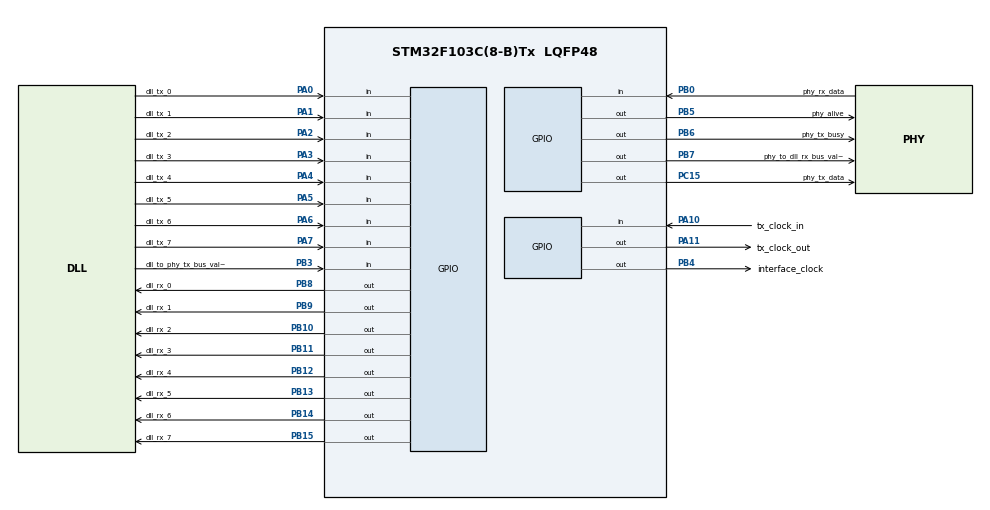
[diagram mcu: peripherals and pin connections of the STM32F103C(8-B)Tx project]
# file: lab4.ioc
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Mcu.Family=STM32F1
Mcu.Name=STM32F103C(8-B)Tx
Mcu.Package=LQFP48
NVIC.PriorityGroup=NVIC_PRIORITYGROUP_4
NVIC.TIM2_IRQn=true\:0\:0\:false\:true\:true\:1\:true
NVIC.TIM3_IRQn=true\:0\:0\:false\:true\:true\:2\:true
NVIC.TIM4_IRQn=true\:0\:0\:false\:true\:true\:3\:true
PA0-WKUP.GPIO_Label=dll_tx_0
PA0-WKUP.GPIO_PuPd=GPIO_PULLDOWN
PA0-WKUP.Signal=GPIO_Input
PA1.GPIO_Label=dll_tx_1
PA1.GPIO_PuPd=GPIO_PULLDOWN
PA1.Signal=GPIO_Input
PA10.GPIO_Label=tx_clock_in
PA10.GPIO_PuPd=GPIO_PULLDOWN
PA10.Signal=GPIO_Input
PA11.GPIO_Label=tx_clock_out
PA11.Signal=GPIO_Output
PA13.Mode=Serial_Wire
PA13.Signal=SYS_JTMS-SWDIO
PA14.Mode=Serial_Wire
PA14.Signal=SYS_JTCK-SWCLK
PA2.GPIO_Label=dll_tx_2
PA2.GPIO_PuPd=GPIO_PULLDOWN
PA2.Signal=GPIO_Input
PA3.GPIO_Label=dll_tx_3
PA3.GPIO_PuPd=GPIO_PULLDOWN
PA3.Signal=GPIO_Input
PA4.GPIO_Label=dll_tx_4
PA4.GPIO_PuPd=GPIO_PULLDOWN
PA4.Signal=GPIO_Input
PA5.GPIO_Label=dll_tx_5
PA5.GPIO_PuPd=GPIO_PULLDOWN
PA5.Signal=GPIO_Input
PA6.GPIO_Label=dll_tx_6
PA6.GPIO_PuPd=GPIO_PULLDOWN
PA6.Signal=GPIO_Input
PA7.GPIO_Label=dll_tx_7
PA7.GPIO_PuPd=GPIO_PULLDOWN
PA7.Signal=GPIO_Input
PB0.GPIO_Label=phy_rx_data
PB0.GPIO_PuPd=GPIO_PULLDOWN
PB0.Signal=GPIO_Input
PB10.GPIO_Label=dll_rx_2
PB10.Signal=GPIO_Output
PB11.GPIO_Label=dll_rx_3
PB11.Signal=GPIO_Output
PB12.GPIO_Label=dll_rx_4
PB12.Signal=GPIO_Output
PB13.GPIO_Label=dll_rx_5
PB13.Signal=GPIO_Output
PB14.GPIO_Label=dll_rx_6
PB14.Signal=GPIO_Output
PB15.GPIO_Label=dll_rx_7
PB15.Signal=GPIO_Output
PB3.GPIO_Label=dll_to_phy_tx_bus_valid
PB3.GPIO_PuPd=GPIO_PULLDOWN
PB3.Signal=GPIO_Input
PB4.GPIO_Label=interface_clock
PB4.Signal=GPIO_Output
PB5.GPIO_Label=phy_alive
PB5.Signal=GPIO_Output
PB6.GPIO_Label=phy_tx_busy
PB6.Signal=GPIO_Output
PB7.GPIO_Label=phy_to_dll_rx_bus_valid
PB7.Signal=GPIO_Output
PB8.GPIO_Label=dll_rx_0
PB8.Signal=GPIO_Output
PB9.GPIO_Label=dll_rx_1
PB9.Signal=GPIO_Output
PC15-OSC32_OUT.GPIO_Label=phy_tx_data
PC15-OSC32_OUT.Signal=GPIO_Output
ProjectManager.HeapSize=0x200
ProjectManager.StackSize=0x400
ProjectManager.TargetToolchain=MDK-ARM V5
RCC.APB1Freq_Value=8000000
RCC.APB2CLKDivider=RCC_HCLK_DIV16
RCC.APB2Freq_Value=500000
RCC.APB2TimFreq_Value=1000000
TIM2.Period=40
TIM2.Prescaler=124
TIM3.Period=40
TIM3.Prescaler=124
TIM4.Period=1
TIM4.Prescaler=124
VP_TIM2_VS_ClockSourceINT.Mode=Internal
VP_TIM3_VS_ClockSourceINT.Mode=Internal
VP_TIM4_VS_ClockSourceINT.Mode=Internal
board=custom

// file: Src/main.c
/**
  ******************************************************************************
  * @file           : main.c
  * @brief          : Main program body
  ******************************************************************************
  ** This notice applies to any and all portions of this file
  * that are not between comment pairs USER CODE BEGIN and
  * USER CODE END. Other portions of this file, whether
  * inserted by the user or by software development tools
  * are owned by their respective copyright owners.
  *
  * COPYRIGHT(c) 2020 STMicroelectronics
  *
  * Redistribution and use in source and binary forms, with or without modification,
  * are permitted provided that the following conditions are met:
  *   1. Redistributions of source code must retain the above copyright notice,
  *      this list of conditions and the following disclaimer.
  *   2. Redistributions in binary form must reproduce the above copyright notice,
  *      this list of conditions and the following disclaimer in the documentation
  *      and/or other materials provided with the distribution.
  *   3. Neither the name of STMicroelectronics nor the names of its contributors
  *      may be used to endorse or promote products derived from this software
  *      without specific prior written permission.
  *
  * THIS SOFTWARE IS PROVIDED BY THE COPYRIGHT HOLDERS AND CONTRIBUTORS "AS IS"
  * AND ANY EXPRESS OR IMPLIED WARRANTIES, INCLUDING, BUT NOT LIMITED TO, THE
  * IMPLIED WARRANTIES OF MERCHANTABILITY AND FITNESS FOR A PARTICULAR PURPOSE ARE
  * DISCLAIMED. IN NO EVENT SHALL THE COPYRIGHT HOLDER OR CONTRIBUTORS BE LIABLE
  * FOR ANY DIRECT, INDIRECT, INCIDENTAL, SPECIAL, EXEMPLARY, OR CONSEQUENTIAL
  * DAMAGES (INCLUDING, BUT NOT LIMITED TO, PROCUREMENT OF SUBSTITUTE GOODS OR
  * SERVICES; LOSS OF USE, DATA, OR PROFITS; OR BUSINESS INTERRUPTION) HOWEVER
  * CAUSED AND ON ANY THEORY OF LIABILITY, WHETHER IN CONTRACT, STRICT LIABILITY,
  * OR TORT (INCLUDING NEGLIGENCE OR OTHERWISE) ARISING IN ANY WAY OUT OF THE USE
  * OF THIS SOFTWARE, EVEN IF ADVISED OF THE POSSIBILITY OF SUCH DAMAGE.
  *
  ******************************************************************************
  */
#include "main.h"
#include "stm32f1xx_hal.h"

/* USER CODE BEGIN Includes */
#define MASK_MAX 128
#define BYTE_COUNT 8
#define GPIOA_IDR 0x40010808
#define GPIOB_ODR 0x40010C0C
#define IDLE 100
#define START_BIT 101
#define DATA 102
#define PARITY 103
#define STOP_BITS 104
/* USER CODE END Includes */

TIM_HandleTypeDef htim2;
TIM_HandleTypeDef htim3;
TIM_HandleTypeDef htim4;

/* USER CODE BEGIN PV */
/* Private variables ---------------------------------------------------------*/
uint32_t phy_to_dll_rx_bus = 0;
static uint32_t dll_to_phy_tx_bus;
static uint32_t dll_to_phy_tx_bus_valid = 0;
static uint32_t phy_to_dll_rx_bus_valid = 0;
static uint32_t dll_new_data = 0;
uint32_t phy_rx_new_data = 0;
uint32_t to_finish = 0;

static uint32_t tx_clock = 0;
static uint32_t interface_clock = 0;
static uint32_t prev_tx_clock = 0;
static uint32_t prev_interface_clock = 0;

static uint32_t alive = 0;
static uint32_t phy_busy = 0;

//lab4
static uint32_t tx_state = IDLE;
static uint32_t tx_mask = 1;
static uint32_t current_bit = -1;
static uint32_t stop_bits = 0;
static uint32_t tx_parity_counter = 0;
static uint32_t first_iteration = 1;
static uint32_t tx_bit = 1;
uint32_t counter = 0;
/* USER CODE END PV */

void SystemClock_Config(void);
static void MX_GPIO_Init(void);
static void MX_TIM2_Init(void);
static void MX_TIM3_Init(void);
static void MX_TIM4_Init(void);
static void MX_NVIC_Init(void);

/* USER CODE BEGIN PFP */
/* Private function prototypes -----------------------------------------------*/

/* USER CODE END PFP */

/* USER CODE BEGIN 0 */
void interface()
{

	static int first_rising_edge = 1;
	static int first_iteration = 1;
	static uint32_t *GPIOA_IDR_PTR = (uint32_t*)GPIOA_IDR;
	static uint32_t *GPIOB_ODR_PTR = (uint32_t*)GPIOB_ODR;
	static uint32_t da_bits = 0;
	if(first_iteration)//first iteration of the function means the interface clock isnt on.
	{
		HAL_TIM_Base_Start(&htim2);
		HAL_TIM_Base_Start_IT(&htim2);
		first_iteration = 0;
	}
	else if(prev_interface_clock && !interface_clock && HAL_GPIO_ReadPin(dll_to_phy_tx_bus_valid_GPIO_Port,dll_to_phy_tx_bus_valid_Pin))
	{//interface clock on falling edge and dll sent new data(valid == 1)
		dll_to_phy_tx_bus = (*GPIOA_IDR_PTR & 255);
		dll_new_data = 1;
	}
	else if(!prev_interface_clock && interface_clock)
	{//interface clock on rising edge
		if(first_rising_edge)
		{
			HAL_GPIO_WritePin(phy_alive_GPIO_Port,phy_alive_Pin,GPIO_PIN_SET);
			first_rising_edge = 0;
			alive = 1;
		}
		if(HAL_GPIO_ReadPin(phy_to_dll_rx_bus_valid_GPIO_Port,phy_to_dll_rx_bus_valid_Pin)) //reset valid one clock cycle after data had been already happend in the past progressive sent to the dll(grammer bitch)
		{//if the valid is 1, which means data was sent to the dll one clock cycke ago, we need to reset valid to 0
			HAL_GPIO_WritePin(phy_to_dll_rx_bus_valid_GPIO_Port,phy_to_dll_rx_bus_valid_Pin,GPIO_PIN_RESET);
			phy_to_dll_rx_bus_valid = 0;
		}
		if(phy_rx_new_data)
		{//phy_tx received new data, send it to the dll than
			da_bits = (*GPIOB_ODR_PTR & 255) + (phy_to_dll_rx_bus << 8);
			*GPIOB_ODR_PTR = da_bits;
			HAL_GPIO_WritePin(phy_to_dll_rx_bus_valid_GPIO_Port,phy_to_dll_rx_bus_valid_Pin,GPIO_PIN_SET);
			phy_to_dll_rx_bus_valid = 1;
			phy_rx_new_data = 0;
		}
	}
}

void phy_TX()
{

	if(first_iteration)
	{
		HAL_GPIO_WritePin(phy_tx_data_GPIO_Port,phy_tx_data_Pin,GPIO_PIN_SET); //send IDLE
		HAL_GPIO_WritePin(tx_clock_out_GPIO_Port,tx_clock_out_Pin, GPIO_PIN_RESET);
		tx_bit = 1;
		first_iteration = 0;
	}
	if(dll_new_data)
	{
		counter = 0;
		HAL_TIM_Base_Start(&htim3);
		HAL_TIM_Base_Start_IT(&htim3);
		HAL_GPIO_WritePin(phy_tx_busy_GPIO_Port,phy_tx_busy_Pin,GPIO_PIN_SET);
		phy_busy = 1;
		tx_state = START_BIT;
		dll_new_data = 0;
	}
	else if(!prev_tx_clock && tx_clock) //rising edge
	{
		if(tx_state == IDLE)
		{
			HAL_GPIO_WritePin(phy_tx_data_GPIO_Port,phy_tx_data_Pin,GPIO_PIN_SET);
			tx_bit = 1;
		}
		else if(tx_state == START_BIT)
		{
			HAL_GPIO_WritePin(phy_tx_data_GPIO_Port,phy_tx_data_Pin,GPIO_PIN_RESET);
			tx_bit = 0;
			tx_state = DATA;
		}
		else if(tx_state == DATA)
		{
			current_bit = (tx_mask)&(dll_to_phy_tx_bus);
			if(current_bit==tx_mask)
			{
				HAL_GPIO_WritePin(phy_tx_data_GPIO_Port,phy_tx_data_Pin,GPIO_PIN_SET);
				tx_parity_counter++;
				tx_bit = 1;
			}
			else
			{
				tx_bit = 0;
				HAL_GPIO_WritePin(phy_tx_data_GPIO_Port,phy_tx_data_Pin,GPIO_PIN_RESET);
			}
			tx_mask*=2;
			tx_state = (tx_mask > MASK_MAX) ? PARITY : DATA;
		}
		else if(tx_state == PARITY)
		{
			if(tx_parity_counter%2 == 0)
			{
				tx_parity_counter = 0;
				HAL_GPIO_WritePin(phy_tx_data_GPIO_Port,phy_tx_data_Pin,GPIO_PIN_RESET);
				tx_bit = 0;
			}
			else
			{
				tx_parity_counter = 1;
				tx_bit = 1;
				HAL_GPIO_WritePin(phy_tx_data_GPIO_Port,phy_tx_data_Pin,GPIO_PIN_SET);
			}
			tx_state = STOP_BITS;
		}
		else if(tx_state == STOP_BITS)
		{
			if(stop_bits < 2)
			{
				HAL_GPIO_WritePin(phy_tx_data_GPIO_Port,phy_tx_data_Pin,GPIO_PIN_SET);
				tx_bit = 1;
				stop_bits++;
			}
			else
			{
				HAL_TIM_Base_Stop(&htim3);
				HAL_TIM_Base_Stop_IT(&htim3);
				HAL_GPIO_WritePin(phy_tx_busy_GPIO_Port,phy_tx_busy_Pin,GPIO_PIN_RESET);
				HAL_GPIO_WritePin(tx_clock_out_GPIO_Port,tx_clock_out_Pin,GPIO_PIN_RESET);
				stop_bits = 0;
				phy_busy = 0;
				tx_bit = 1;
				tx_mask = 1;
				tx_state = IDLE;
				counter = 0;
				tx_parity_counter = 0;
			}
		}
	}

		/*
		switch (tx_state)
		{
			case IDLE:
				HAL_GPIO_WritePin(phy_tx_data_GPIO_Port,phy_tx_data_Pin,GPIO_PIN_SET);
				tx_bit = 1;
				break;
			case START_BIT:
				HAL_GPIO_WritePin(phy_tx_data_GPIO_Port,phy_tx_data_Pin,GPIO_PIN_RESET);
				tx_bit = 0;
				tx_state = DATA;
				break;
			case DATA:
				current_bit = (tx_mask)&(dll_to_phy_tx_bus);
				if(current_bit==tx_mask)
				{
					HAL_GPIO_WritePin(phy_tx_data_GPIO_Port,phy_tx_data_Pin,GPIO_PIN_SET);
					tx_parity_counter++;
					tx_bit = 1;
				}
				else
				{
					tx_bit = 0;
					HAL_GPIO_WritePin(phy_tx_data_GPIO_Port,phy_tx_data_Pin,GPIO_PIN_RESET);
				}
				tx_mask*=2;
				tx_state = (tx_mask > MASK_MAX) ? PARITY : DATA;
				break;
			case PARITY:
				if(tx_parity_counter%2 == 0)
				{
					HAL_GPIO_WritePin(phy_tx_data_GPIO_Port,phy_tx_data_Pin,GPIO_PIN_RESET);
					tx_bit = 0;
				}
				else
				{
					tx_bit = 1;
					HAL_GPIO_WritePin(phy_tx_data_GPIO_Port,phy_tx_data_Pin,GPIO_PIN_SET);
				}
				tx_state = STOP_BITS;
				break;
			case STOP_BITS:
				if(stop_bits < 2)
				{
					HAL_GPIO_WritePin(phy_tx_data_GPIO_Port,phy_tx_data_Pin,GPIO_PIN_SET);
					tx_bit = 1;
					stop_bits++;
				}
				else
				{
					HAL_TIM_Base_Stop(&htim3);
					HAL_TIM_Base_Stop_IT(&htim3);
					HAL_GPIO_WritePin(phy_tx_busy_GPIO_Port,phy_tx_busy_Pin,GPIO_PIN_RESET);
					HAL_GPIO_WritePin(tx_clock_out_GPIO_Port,tx_clock_out_Pin,GPIO_PIN_RESET);
					phy_busy = 0;
					tx_mask = 1;
					tx_state = IDLE;
					counter = 0;
				}
				break;
		}
	*/
}
void phy_RX()
{
	static uint32_t rx_state = 1;
	static uint32_t timer_on = 0;
	rx_state = HAL_GPIO_ReadPin(phy_rx_data_GPIO_Port,phy_rx_data_Pin);
	if(!rx_state && !timer_on) //voltage drop
	{
		HAL_TIM_Base_Start(&htim4);
		HAL_TIM_Base_Start_IT(&htim4);
		timer_on=1;
	}
	if(to_finish) //finished receiving frame or an error has occurred
	{
		HAL_TIM_Base_Stop(&htim4);
		HAL_TIM_Base_Stop_IT(&htim4);
		timer_on = 0;
		to_finish = 0;
	}
}

void sampleClocks()
{
	prev_tx_clock = tx_clock;
	prev_interface_clock = interface_clock;
	tx_clock = HAL_GPIO_ReadPin(tx_clock_in_GPIO_Port,tx_clock_in_Pin);
	interface_clock = HAL_GPIO_ReadPin(interface_clock_GPIO_Port,interface_clock_Pin);
	dll_to_phy_tx_bus_valid = HAL_GPIO_ReadPin(dll_to_phy_tx_bus_valid_GPIO_Port, dll_to_phy_tx_bus_valid_Pin);
	phy_to_dll_rx_bus_valid = HAL_GPIO_ReadPin(phy_to_dll_rx_bus_valid_GPIO_Port, phy_to_dll_rx_bus_valid_Pin);
}

void phy_layer()
{
	phy_TX();
	phy_RX();
}
/* USER CODE END 0 */

int main(void)
{

  /* MCU Configuration----------------------------------------------------------*/

  /* Reset of all peripherals, Initializes the Flash interface and the Systick. */
  HAL_Init();

  /* Configure the system clock */
  SystemClock_Config();

  /* Initialize all configured peripherals */
  MX_GPIO_Init();
  MX_TIM2_Init();
  MX_TIM3_Init();
  MX_TIM4_Init();

  /* Initialize interrupts */
  MX_NVIC_Init();

  /* Infinite loop */
  /* USER CODE BEGIN WHILE */
  while (1)
  {
		phy_layer();
		interface();
		sampleClocks();
  /* USER CODE END WHILE */

  }

}

void SystemClock_Config(void)
{

  RCC_OscInitTypeDef RCC_OscInitStruct;
  RCC_ClkInitTypeDef RCC_ClkInitStruct;

    /**Initializes the CPU, AHB and APB busses clocks
    */
  RCC_OscInitStruct.OscillatorType = RCC_OSCILLATORTYPE_HSI;
  RCC_OscInitStruct.HSIState = RCC_HSI_ON;
  RCC_OscInitStruct.HSICalibrationValue = 16;
  RCC_OscInitStruct.PLL.PLLState = RCC_PLL_NONE;
  if (HAL_RCC_OscConfig(&RCC_OscInitStruct) != HAL_OK)
  {
    _Error_Handler(__FILE__, __LINE__);
  }

    /**Initializes the CPU, AHB and APB busses clocks
    */
  RCC_ClkInitStruct.ClockType = RCC_CLOCKTYPE_HCLK|RCC_CLOCKTYPE_SYSCLK
                              |RCC_CLOCKTYPE_PCLK1|RCC_CLOCKTYPE_PCLK2;
  RCC_ClkInitStruct.SYSCLKSource = RCC_SYSCLKSOURCE_HSI;
  RCC_ClkInitStruct.AHBCLKDivider = RCC_SYSCLK_DIV1;
  RCC_ClkInitStruct.APB1CLKDivider = RCC_HCLK_DIV1;
  RCC_ClkInitStruct.APB2CLKDivider = RCC_HCLK_DIV16;

  if (HAL_RCC_ClockConfig(&RCC_ClkInitStruct, FLASH_LATENCY_0) != HAL_OK)
  {
    _Error_Handler(__FILE__, __LINE__);
  }

    /**Configure the Systick interrupt time
    */
  HAL_SYSTICK_Config(HAL_RCC_GetHCLKFreq()/1000);

    /**Configure the Systick
    */
  HAL_SYSTICK_CLKSourceConfig(SYSTICK_CLKSOURCE_HCLK);

  /* SysTick_IRQn interrupt configuration */
  HAL_NVIC_SetPriority(SysTick_IRQn, 0, 0);
}

/**
  * @brief NVIC Configuration.
  * @retval None
  */
static void MX_NVIC_Init(void)
{
  /* TIM2_IRQn interrupt configuration */
  HAL_NVIC_SetPriority(TIM2_IRQn, 0, 0);
  HAL_NVIC_EnableIRQ(TIM2_IRQn);
  /* TIM3_IRQn interrupt configuration */
  HAL_NVIC_SetPriority(TIM3_IRQn, 0, 0);
  HAL_NVIC_EnableIRQ(TIM3_IRQn);
  /* TIM4_IRQn interrupt configuration */
  HAL_NVIC_SetPriority(TIM4_IRQn, 0, 0);
  HAL_NVIC_EnableIRQ(TIM4_IRQn);
}

/* TIM2 init function */
static void MX_TIM2_Init(void)
{

  TIM_ClockConfigTypeDef sClockSourceConfig;
  TIM_MasterConfigTypeDef sMasterConfig;

  htim2.Instance = TIM2;
  htim2.Init.Prescaler = 124;
  htim2.Init.CounterMode = TIM_COUNTERMODE_UP;
  htim2.Init.Period = 40;
  htim2.Init.ClockDivision = TIM_CLOCKDIVISION_DIV1;
  htim2.Init.AutoReloadPreload = TIM_AUTORELOAD_PRELOAD_DISABLE;
  if (HAL_TIM_Base_Init(&htim2) != HAL_OK)
  {
    _Error_Handler(__FILE__, __LINE__);
  }

  sClockSourceConfig.ClockSource = TIM_CLOCKSOURCE_INTERNAL;
  if (HAL_TIM_ConfigClockSource(&htim2, &sClockSourceConfig) != HAL_OK)
  {
    _Error_Handler(__FILE__, __LINE__);
  }

  sMasterConfig.MasterOutputTrigger = TIM_TRGO_RESET;
  sMasterConfig.MasterSlaveMode = TIM_MASTERSLAVEMODE_DISABLE;
  if (HAL_TIMEx_MasterConfigSynchronization(&htim2, &sMasterConfig) != HAL_OK)
  {
    _Error_Handler(__FILE__, __LINE__);
  }

}

/* TIM3 init function */
static void MX_TIM3_Init(void)
{

  TIM_ClockConfigTypeDef sClockSourceConfig;
  TIM_MasterConfigTypeDef sMasterConfig;

  htim3.Instance = TIM3;
  htim3.Init.Prescaler = 124;
  htim3.Init.CounterMode = TIM_COUNTERMODE_UP;
  htim3.Init.Period = 40;
  htim3.Init.ClockDivision = TIM_CLOCKDIVISION_DIV1;
  htim3.Init.AutoReloadPreload = TIM_AUTORELOAD_PRELOAD_DISABLE;
  if (HAL_TIM_Base_Init(&htim3) != HAL_OK)
  {
    _Error_Handler(__FILE__, __LINE__);
  }

  sClockSourceConfig.ClockSource = TIM_CLOCKSOURCE_INTERNAL;
  if (HAL_TIM_ConfigClockSource(&htim3, &sClockSourceConfig) != HAL_OK)
  {
    _Error_Handler(__FILE__, __LINE__);
  }

  sMasterConfig.MasterOutputTrigger = TIM_TRGO_RESET;
  sMasterConfig.MasterSlaveMode = TIM_MASTERSLAVEMODE_DISABLE;
  if (HAL_TIMEx_MasterConfigSynchronization(&htim3, &sMasterConfig) != HAL_OK)
  {
    _Error_Handler(__FILE__, __LINE__);
  }

}

/* TIM4 init function */
static void MX_TIM4_Init(void)
{

  TIM_ClockConfigTypeDef sClockSourceConfig;
  TIM_MasterConfigTypeDef sMasterConfig;

  htim4.Instance = TIM4;
  htim4.Init.Prescaler = 124;
  htim4.Init.CounterMode = TIM_COUNTERMODE_UP;
  htim4.Init.Period = 1;
  htim4.Init.ClockDivision = TIM_CLOCKDIVISION_DIV1;
  htim4.Init.AutoReloadPreload = TIM_AUTORELOAD_PRELOAD_DISABLE;
  if (HAL_TIM_Base_Init(&htim4) != HAL_OK)
  {
    _Error_Handler(__FILE__, __LINE__);
  }

  sClockSourceConfig.ClockSource = TIM_CLOCKSOURCE_INTERNAL;
  if (HAL_TIM_ConfigClockSource(&htim4, &sClockSourceConfig) != HAL_OK)
  {
    _Error_Handler(__FILE__, __LINE__);
  }

  sMasterConfig.MasterOutputTrigger = TIM_TRGO_RESET;
  sMasterConfig.MasterSlaveMode = TIM_MASTERSLAVEMODE_DISABLE;
  if (HAL_TIMEx_MasterConfigSynchronization(&htim4, &sMasterConfig) != HAL_OK)
  {
    _Error_Handler(__FILE__, __LINE__);
  }

}

/** Configure pins as
        * Analog
        * Input
        * Output
        * EVENT_OUT
        * EXTI
*/
static void MX_GPIO_Init(void)
{

  GPIO_InitTypeDef GPIO_InitStruct;

  /* GPIO Ports Clock Enable */
  __HAL_RCC_GPIOC_CLK_ENABLE();
  __HAL_RCC_GPIOA_CLK_ENABLE();
  __HAL_RCC_GPIOB_CLK_ENABLE();

  /*Configure GPIO pin Output Level */
  HAL_GPIO_WritePin(phy_tx_data_GPIO_Port, phy_tx_data_Pin, GPIO_PIN_RESET);

  /*Configure GPIO pin Output Level */
  HAL_GPIO_WritePin(GPIOB, dll_rx_2_Pin|dll_rx_3_Pin|dll_rx_4_Pin|dll_rx_5_Pin
                          |dll_rx_6_Pin|dll_rx_7_Pin|interface_clock_Pin|phy_alive_Pin
                          |phy_tx_busy_Pin|phy_to_dll_rx_bus_valid_Pin|dll_rx_0_Pin|dll_rx_1_Pin, GPIO_PIN_RESET);

  /*Configure GPIO pin Output Level */
  HAL_GPIO_WritePin(tx_clock_out_GPIO_Port, tx_clock_out_Pin, GPIO_PIN_RESET);

  /*Configure GPIO pin : phy_tx_data_Pin */
  GPIO_InitStruct.Pin = phy_tx_data_Pin;
  GPIO_InitStruct.Mode = GPIO_MODE_OUTPUT_PP;
  GPIO_InitStruct.Pull = GPIO_NOPULL;
  GPIO_InitStruct.Speed = GPIO_SPEED_FREQ_LOW;
  HAL_GPIO_Init(phy_tx_data_GPIO_Port, &GPIO_InitStruct);

  /*Configure GPIO pins : dll_tx_0_Pin dll_tx_1_Pin dll_tx_2_Pin dll_tx_3_Pin
                           dll_tx_4_Pin dll_tx_5_Pin dll_tx_6_Pin dll_tx_7_Pin
                           tx_clock_in_Pin */
  GPIO_InitStruct.Pin = dll_tx_0_Pin|dll_tx_1_Pin|dll_tx_2_Pin|dll_tx_3_Pin
                          |dll_tx_4_Pin|dll_tx_5_Pin|dll_tx_6_Pin|dll_tx_7_Pin
                          |tx_clock_in_Pin;
  GPIO_InitStruct.Mode = GPIO_MODE_INPUT;
  GPIO_InitStruct.Pull = GPIO_PULLDOWN;
  HAL_GPIO_Init(GPIOA, &GPIO_InitStruct);

  /*Configure GPIO pins : phy_rx_data_Pin dll_to_phy_tx_bus_valid_Pin */
  GPIO_InitStruct.Pin = phy_rx_data_Pin|dll_to_phy_tx_bus_valid_Pin;
  GPIO_InitStruct.Mode = GPIO_MODE_INPUT;
  GPIO_InitStruct.Pull = GPIO_PULLDOWN;
  HAL_GPIO_Init(GPIOB, &GPIO_InitStruct);

  /*Configure GPIO pins : dll_rx_2_Pin dll_rx_3_Pin dll_rx_4_Pin dll_rx_5_Pin
                           dll_rx_6_Pin dll_rx_7_Pin interface_clock_Pin phy_alive_Pin
                           phy_tx_busy_Pin phy_to_dll_rx_bus_valid_Pin dll_rx_0_Pin dll_rx_1_Pin */
  GPIO_InitStruct.Pin = dll_rx_2_Pin|dll_rx_3_Pin|dll_rx_4_Pin|dll_rx_5_Pin
                          |dll_rx_6_Pin|dll_rx_7_Pin|interface_clock_Pin|phy_alive_Pin
                          |phy_tx_busy_Pin|phy_to_dll_rx_bus_valid_Pin|dll_rx_0_Pin|dll_rx_1_Pin;
  GPIO_InitStruct.Mode = GPIO_MODE_OUTPUT_PP;
  GPIO_InitStruct.Pull = GPIO_NOPULL;
  GPIO_InitStruct.Speed = GPIO_SPEED_FREQ_LOW;
  HAL_GPIO_Init(GPIOB, &GPIO_InitStruct);

  /*Configure GPIO pin : tx_clock_out_Pin */
  GPIO_InitStruct.Pin = tx_clock_out_Pin;
  GPIO_InitStruct.Mode = GPIO_MODE_OUTPUT_PP;
  GPIO_InitStruct.Pull = GPIO_NOPULL;
  GPIO_InitStruct.Speed = GPIO_SPEED_FREQ_LOW;
  HAL_GPIO_Init(tx_clock_out_GPIO_Port, &GPIO_InitStruct);

}

void _Error_Handler(char *file, int line)
{
  while(1)
  {
  }
}

/************************ (C) COPYRIGHT STMicroelectronics *****END OF FILE****/
